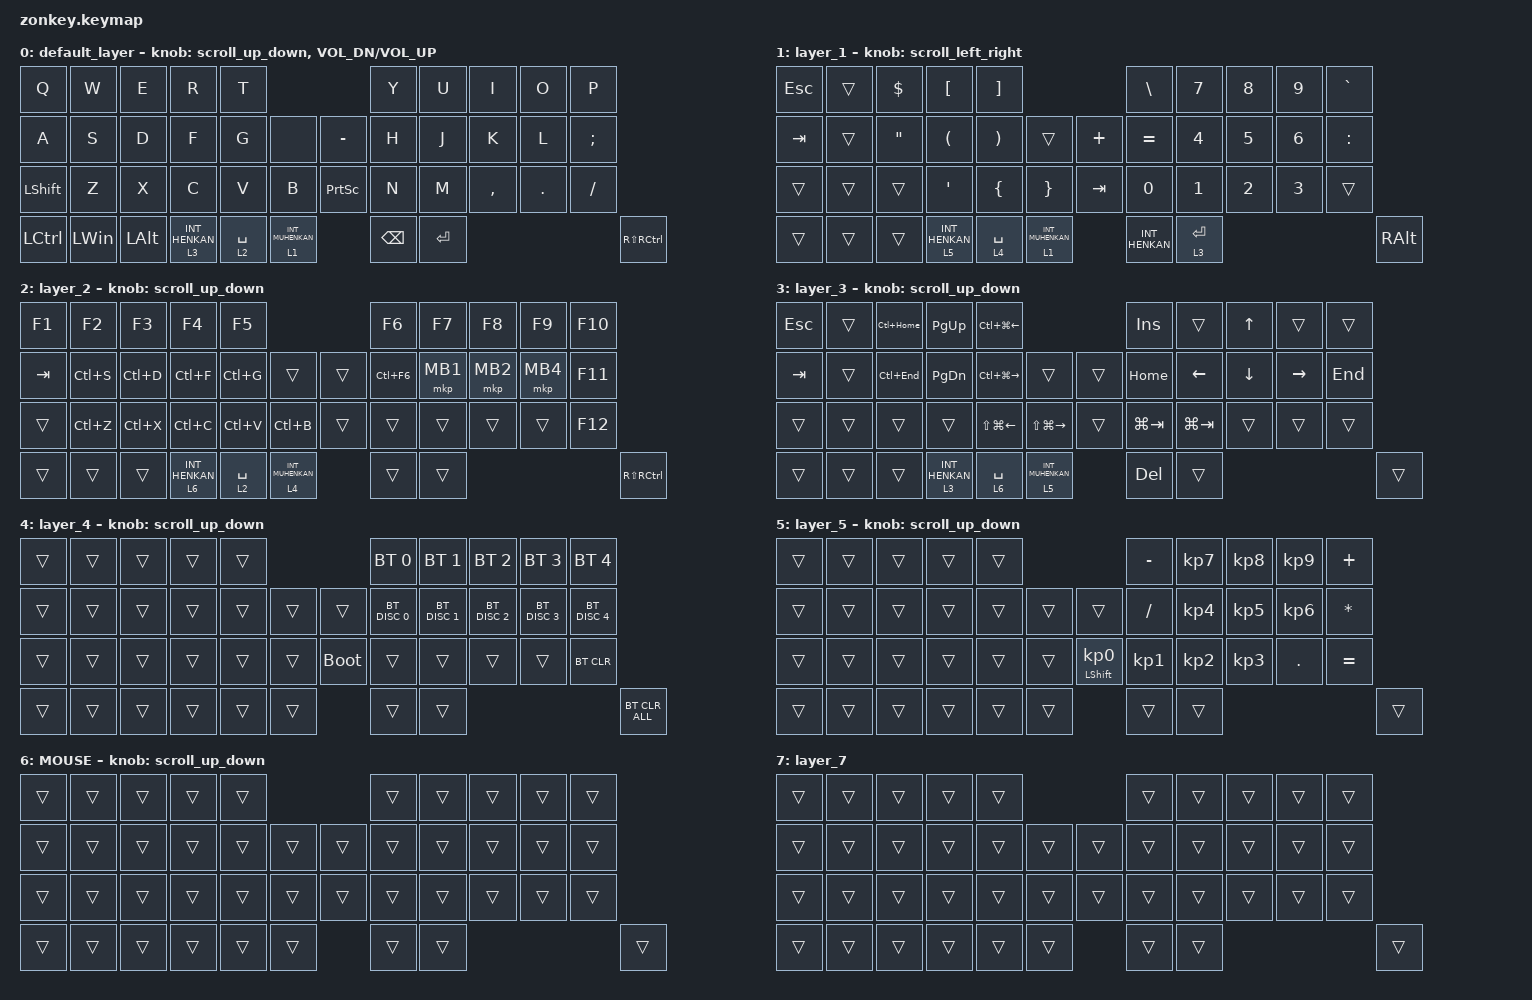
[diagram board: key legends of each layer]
#include <physical_layouts.dtsi>
#include <behaviors.dtsi>
#include <dt-bindings/zmk/bt.h>
#include <dt-bindings/zmk/keys.h>
#include <dt-bindings/zmk/pointing.h>

#define ZMK_POINTING_DEFAULT_SCRL_VAL 100
#define DFb 0
#define JIS 1
#define BT 4
#define MOUSE 6
#define JP_DQUOTE       AT                // "
#define JP_AMPERSAND    CARET             // &
#define JP_QUOTE        AMPERSAND         // '
#define JP_EQUAL        UNDER             // =
#define JP_CARET        EQUAL             // ^
#define JP_YEN          0x89              // ¥
#define JP_PLUS         COLON             // +
#define JP_TILDE        PLUS              // ~
#define JP_PIPE         LS(0x89)          // |
#define JP_AT           LEFT_BRACKET      // @
#define JP_COLON        SINGLE_QUOTE      // :
#define JP_ASTERISK     DOUBLE_QUOTES     // *
#define JP_BACKQUOTE    LEFT_BRACE        // `
#define JP_UNDERSCORE   LS(0x87)          // _
#define JP_LBRACKET     RIGHT_BRACKET     // [
#define JP_RBRACKET     BACKSLASH         // ]
#define JP_LPAREN       ASTERISK          // (
#define JP_RPAREN       LEFT_PARENTHESIS  // )
#define JP_LBRACE       RIGHT_BRACE       // {
#define JP_RBRACE       PIPE              // }
#define JP_KANA         LANGUAGE_1        // かな
#define JP_EISU         LANGUAGE_2        // 英数
#define JP_HANZEN       GRAVE             // 半角/全角
#define JP_BSLH  INT1         // (backslash)

&mt {
    flavor = "balanced";
    quick-tap-ms = <0>;
};

/ {
    combos { compatible = "zmk,combos"; };

    macros {
        to_layer_0: to_layer_0 {
            compatible = "zmk,behavior-macro-one-param";
            #binding-cells = <1>;
            bindings = <&to 0 &macro_param_1to1 &kp MACRO_PLACEHOLDER>;
            label = "TO_LAYER_0";
        };
    };

    behaviors {
        lt_to_layer_0: lt_to_layer_0 {
            compatible = "zmk,behavior-hold-tap";
            label = "LAYER_TAP_TO_0";
            bindings = <&mo>, <&to_layer_0>;

            #binding-cells = <2>;
            tapping-term-ms = <200>;
        };

        mo2: mo2 {
            compatible = "zmk,behavior-mod-morph";
            #binding-cells = <0>;
            bindings = <&kp N2>, <&kp AT>;

            mods = <(MOD_LSFT|MOD_RSFT)>;
        };

        mo6: mo6 {
            compatible = "zmk,behavior-mod-morph";
            #binding-cells = <0>;
            bindings = <&kp N6>, <&kp CARET>;

            mods = <(MOD_LSFT|MOD_RSFT)>;
        };

        mo7: mo7 {
            compatible = "zmk,behavior-mod-morph";
            #binding-cells = <0>;
            bindings = <&kp N7>, <&kp AMPS>;

            mods = <(MOD_LSFT|MOD_RSFT)>;
        };

        mo8: mo8 {
            compatible = "zmk,behavior-mod-morph";
            #binding-cells = <0>;
            bindings = <&kp N8>, <&kp ASTRK>;

            mods = <(MOD_LSFT|MOD_RSFT)>;
        };

        mo9: mo9 {
            compatible = "zmk,behavior-mod-morph";
            #binding-cells = <0>;
            bindings = <&kp N9>, <&kp LPAR>;

            mods = <(MOD_LSFT|MOD_RSFT)>;
        };

        mo0: mo0 {
            compatible = "zmk,behavior-mod-morph";
            #binding-cells = <0>;
            bindings = <&kp N0>, <&kp LS(N9)>;

            mods = <(MOD_LSFT|MOD_RSFT)>;
        };

        moA: moA {
            compatible = "zmk,behavior-mod-morph";
            #binding-cells = <0>;
            bindings = <&kp MINUS>, <&kp UNDERSCORE>;

            mods = <(MOD_LSFT|MOD_RSFT)>;
        };

        moB: moB {
            compatible = "zmk,behavior-mod-morph";
            #binding-cells = <0>;
            bindings = <&kp EQUAL>, <&kp PLUS>;

            mods = <(MOD_LSFT|MOD_RSFT)>;
        };

        moC: moC {
            compatible = "zmk,behavior-mod-morph";
            #binding-cells = <0>;
            bindings = <&kp INT3>, <&kp JP_PIPE>;

            mods = <(MOD_LSFT|MOD_RSFT)>;
        };

        moD: moD {
            compatible = "zmk,behavior-mod-morph";
            #binding-cells = <0>;
            bindings = <&kp LBKT>, <&kp LBRC>;

            mods = <(MOD_LSFT|MOD_RSFT)>;
        };

        moE: moE {
            compatible = "zmk,behavior-mod-morph";
            #binding-cells = <0>;
            bindings = <&kp RBKT>, <&kp RBRC>;

            mods = <(MOD_LSFT|MOD_RSFT)>;
        };

        moF: moF {
            compatible = "zmk,behavior-mod-morph";
            #binding-cells = <0>;
            bindings = <&kp SEMI>, <&kp KP_PLUS>;

            mods = <(MOD_LSFT|MOD_RSFT)>;
        };

        moG: moG {
            compatible = "zmk,behavior-mod-morph";
            #binding-cells = <0>;
            bindings = <&kp APOSTROPHE>, <&kp DQT>;

            mods = <(MOD_LSFT|MOD_RSFT)>;
        };

        moH: moH {
            compatible = "zmk,behavior-mod-morph";
            #binding-cells = <0>;
            bindings = <&kp BACKSLASH>, <&kp TILDE2>;

            mods = <(MOD_LSFT|MOD_RSFT)>;
        };

        moI: moI {
            compatible = "zmk,behavior-mod-morph";
            #binding-cells = <0>;
            bindings = <&kp JP_BSLH>, <&kp JP_UNDERSCORE>;

            mods = <(MOD_LSFT|MOD_RSFT)>;
        };

        scroll_up_down: behavior_sensor_rotate_mouse_wheel_up_down {
            compatible = "zmk,behavior-sensor-rotate";
            #sensor-binding-cells = <0>;
            bindings = <&msc SCRL_UP>, <&msc SCRL_DOWN>;

            tap-ms = <20>;
        };

        scroll_left_right: scroll_left_right {
            compatible = "zmk,behavior-sensor-rotate";
            label = "SCROLL_LEFT_RIGHT";
            #sensor-binding-cells = <0>;
            bindings = <&msc SCRL_LEFT>, <&msc SCRL_RIGHT>;

            tap-ms = <20>;
        };
    };

    keymap {
        compatible = "zmk,keymap";

        default_layer {
            bindings = <
&kp Q           &kp W         &kp E         &kp R             &kp T                                               &kp Y          &kp U      &kp I      &kp O    &kp P
&kp A           &kp S         &kp D         &kp F             &kp G        &none                 &kp MINUS        &kp H          &kp J      &kp K      &kp L    &kp SEMICOLON
&kp LEFT_SHIFT  &kp Z         &kp X         &kp C             &kp V        &kp B                 &kp PRINTSCREEN  &kp N          &kp M      &kp COMMA  &kp DOT  &kp SLASH
&kp LCTRL       &kp LEFT_WIN  &kp LEFT_ALT  &lt 3 INT_HENKAN  &lt 2 SPACE  &lt 1 INT_MUHENKAN                     &kp BACKSPACE  &kp ENTER                                     &kp RS(RCTRL)
            >;

            sensor-bindings =
                <&scroll_up_down>,
                <&inc_dec_kp C_VOL_DN C_VOL_UP>;
        };

        layer_1 {
            bindings = <
&kp ESC  &trans  &kp DOLLAR         &kp LBKT          &kp RBKT                                     &kp BACKSLASH   &kp NUMBER_7  &kp NUMBER_8  &kp NUMBER_9  &kp GRAVE
&kp TAB  &trans  &kp DOUBLE_QUOTES  &kp LPAR          &kp RPAR     &trans                &kp PLUS  &kp EQUAL       &kp NUMBER_4  &kp NUMBER_5  &kp NUMBER_6  &kp COLON
&trans   &trans  &trans             &kp SINGLE_QUOTE  &kp LBRC     &kp RBRC              &kp TAB   &kp NUMBER_0    &kp NUMBER_1  &kp NUMBER_2  &kp NUMBER_3  &trans
&trans   &trans  &trans             &lt 5 INT_HENKAN  &lt 4 SPACE  &lt 1 INT_MUHENKAN              &kp INT_HENKAN  &lt 3 RET                                            &kp RIGHT_ALT
            >;

            sensor-bindings = <&scroll_left_right>;
        };

        layer_2 {
            bindings = <
&kp F1   &kp F2     &kp F3     &kp F4            &kp F5                                     &kp F6      &kp F7    &kp F8    &kp F9    &kp F10
&kp TAB  &kp LC(S)  &kp LC(D)  &kp LC(F)         &kp LC(G)    &trans                &trans  &kp LC(F6)  &mkp MB1  &mkp MB2  &mkp MB4  &kp F11
&trans   &kp LC(Z)  &kp LC(X)  &kp LC(C)         &kp LC(V)    &kp LC(B)             &trans  &trans      &trans    &trans    &trans    &kp F12
&trans   &trans     &trans     &lt 6 INT_HENKAN  &lt 2 SPACE  &lt 4 INT_MUHENKAN            &trans      &trans                                 &kp RS(RCTRL)
            >;

            sensor-bindings = <&scroll_up_down>;
        };

        layer_3 {
            bindings = <
&kp ESC  &trans  &kp LC(HOME)  &kp PAGE_UP       &kp LC(LG(LEFT_ARROW))                                      &kp INS      &trans          &kp UP_ARROW    &trans           &trans
&kp TAB  &trans  &kp LC(END)   &kp PAGE_DOWN     &kp LC(LG(RIGHT_ARROW))  &trans                     &trans  &kp HOME     &kp LEFT_ARROW  &kp DOWN_ARROW  &kp RIGHT_ARROW  &kp END
&trans   &trans  &trans        &trans            &kp LS(LG(LEFT_ARROW))   &kp LS(LG(RIGHT_ARROW))    &trans  &kp LG(TAB)  &kp LG(TAB)     &trans          &trans           &trans
&trans   &trans  &trans        &lt 3 INT_HENKAN  &lt 6 SPACE              &lt 5 INT_MUHENKAN                 &kp DEL      &trans                                                    &trans
            >;

            sensor-bindings = <&scroll_up_down>;
        };

        layer_4 {
            bindings = <
&trans  &trans  &trans  &trans  &trans                         &bt BT_SEL 0   &bt BT_SEL 1   &bt BT_SEL 2   &bt BT_SEL 3   &bt BT_SEL 4
&trans  &trans  &trans  &trans  &trans  &trans    &trans       &bt BT_DISC 0  &bt BT_DISC 1  &bt BT_DISC 2  &bt BT_DISC 3  &bt BT_DISC 4
&trans  &trans  &trans  &trans  &trans  &trans    &bootloader  &trans         &trans         &trans         &trans         &bt BT_CLR
&trans  &trans  &trans  &trans  &trans  &trans                 &trans         &trans                                                      &bt BT_CLR_ALL
            >;

            sensor-bindings = <&scroll_up_down>;
        };

        layer_5 {
            bindings = <
&trans  &trans  &trans  &trans  &trans                                        &kp MINUS        &kp KP_NUMBER_7  &kp KP_NUMBER_8  &kp KP_NUMBER_9  &kp PLUS
&trans  &trans  &trans  &trans  &trans  &trans    &trans                      &kp SLASH        &kp KP_NUMBER_4  &kp KP_NUMBER_5  &kp KP_NUMBER_6  &kp ASTERISK
&trans  &trans  &trans  &trans  &trans  &trans    &mt LEFT_SHIFT KP_NUMBER_0  &kp KP_NUMBER_1  &kp KP_NUMBER_2  &kp KP_NUMBER_3  &kp PERIOD       &kp EQUAL
&trans  &trans  &trans  &trans  &trans  &trans                                &trans           &trans                                                           &trans
            >;

            sensor-bindings = <&scroll_up_down>;
        };

        MOUSE {
            bindings = <
&trans  &trans  &trans  &trans  &trans                    &trans  &trans  &trans  &trans  &trans
&trans  &trans  &trans  &trans  &trans  &trans    &trans  &trans  &trans  &trans  &trans  &trans
&trans  &trans  &trans  &trans  &trans  &trans    &trans  &trans  &trans  &trans  &trans  &trans
&trans  &trans  &trans  &trans  &trans  &trans            &trans  &trans                          &trans
            >;

            sensor-bindings = <&scroll_up_down>;
        };

        layer_7 {
            bindings = <
&trans  &trans  &trans  &trans  &trans                    &trans  &trans  &trans  &trans  &trans
&trans  &trans  &trans  &trans  &trans  &trans    &trans  &trans  &trans  &trans  &trans  &trans
&trans  &trans  &trans  &trans  &trans  &trans    &trans  &trans  &trans  &trans  &trans  &trans
&trans  &trans  &trans  &trans  &trans  &trans            &trans  &trans                          &trans
            >;
        };
    };
};
